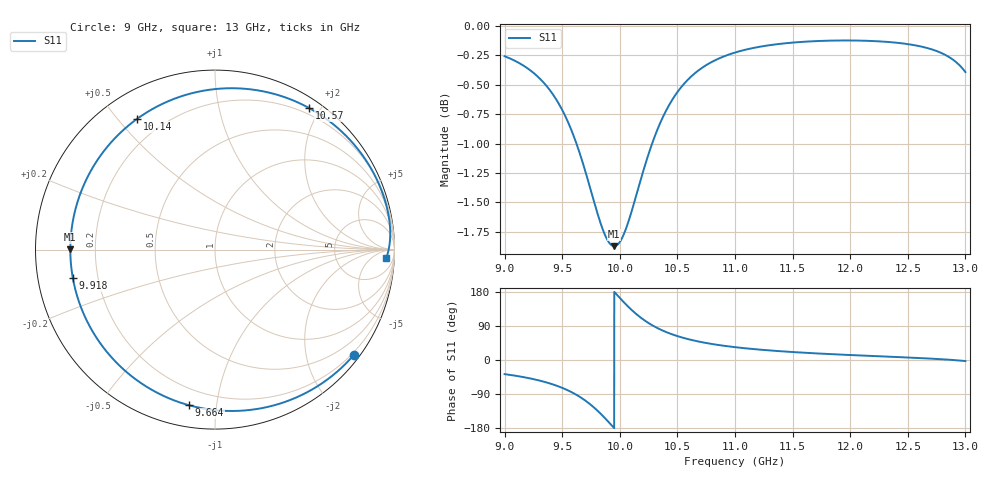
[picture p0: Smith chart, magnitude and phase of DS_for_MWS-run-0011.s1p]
! TOUCHSTONE file generated by CST DESIGN STUDIO
! Date and time: Tue Feb  4 18:25:25 2025
! Project name: C:\Work\MatlabApps\UnitCellOptimizationMatlab\CST\unitcell.cst
! Tree item: Tasks\Sweep1\SPara1\S-Parameters
! Header version: 2024
! Port assignment regex: !\s*Touchstone port\s*([0-9]+)\s*=\s*(CST MWS port|CST DES external port|CST DES block port)\s*(.+)\s* \(\"(.*)\"\)(\s*mode\s*([0-9]+))?.*
! Touchstone port assignment:
! Touchstone port 1 = CST DES external port 1 ("")
# GHz S MA R 50
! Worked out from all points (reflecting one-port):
!   4001 points, 9 GHz to 13 GHz, reference 50 ohm
!   lowest |S11| = -1.9 dB at 9.952 GHz (marker M1), VSWR 9.32, Z = 5.37 + j0.0642 ohm
!   phase of S11 starts at -37 deg and turns -326 deg over the sweep
!   S11 on the Smith chart (normalised r, x): 9 GHz: 0.14, -2.96; 9.664 GHz: 0.11, -0.84; 9.918 GHz: 0.11, -0.10; 10.14 GHz: 0.11, +0.56; 10.57 GHz: 0.12, +1.86; 13 GHz: 21, -22
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9  0.9709 -37.2
9.148  0.963 -44.3
9.282  0.9523 -52.7
9.397  0.9386 -62.3
9.5  0.9211 -73.5
9.59  0.9005 -86.2
9.664  0.8793 -99.4
9.729  0.858 -113.5
9.79  0.8376 -129.1
9.86  0.8176 -149.8
9.918  0.8078 -168.7
9.952  0.8062 179.9
10  0.8095 163.8
10.075  0.8258 140.1
10.145  0.848 120.7
10.212  0.8704 105.1
10.288  0.8934 90.5
10.391  0.9183 75.2
10.5  0.9374 63.0
10.575  0.947 56.5
10.763  0.9633 44.1
11  0.9744 33.9
11.223  0.9801 27.1
11.5  0.9839 21.0
12  0.986 13.1
12.5  0.9823 6.6
12.788  0.9741 2.1
13  0.9559 -2.8
